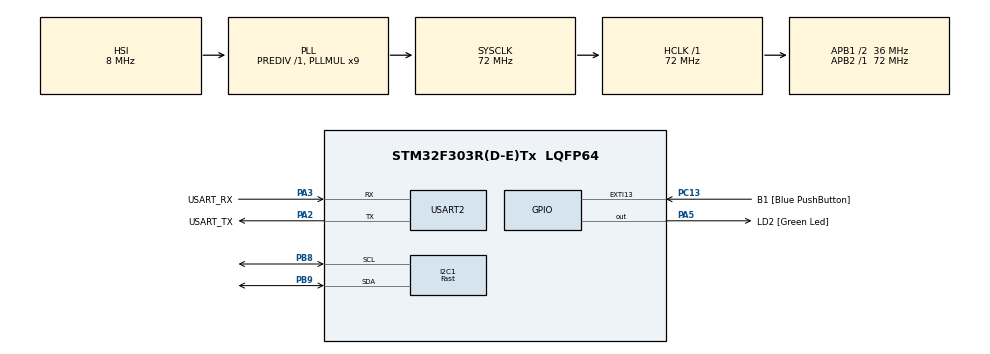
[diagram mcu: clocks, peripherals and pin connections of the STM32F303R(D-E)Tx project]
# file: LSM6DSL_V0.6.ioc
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I2C1.I2C_Speed_Mode=I2C_Fast
I2C1.Timing=0x0010020A
Mcu.Family=STM32F3
Mcu.Name=STM32F303R(D-E)Tx
Mcu.Package=LQFP64
NVIC.PriorityGroup=NVIC_PRIORITYGROUP_0
PA13.GPIO_Label=TMS
PA13.Signal=SYS_JTMS-SWDIO
PA14.GPIO_Label=TCK
PA14.Signal=SYS_JTCK-SWCLK
PA2.GPIO_Label=USART_TX
PA2.GPIO_Mode=GPIO_MODE_AF_PP
PA2.GPIO_PuPd=GPIO_NOPULL
PA2.GPIO_Speed=GPIO_SPEED_FREQ_LOW
PA2.Mode=Asynchronous
PA2.Signal=USART2_TX
PA3.GPIO_Label=USART_RX
PA3.GPIO_Mode=GPIO_MODE_AF_PP
PA3.GPIO_PuPd=GPIO_NOPULL
PA3.GPIO_Speed=GPIO_SPEED_FREQ_LOW
PA3.Mode=Asynchronous
PA3.Signal=USART2_RX
PA5.GPIO_Label=LD2 [Green Led]
PA5.GPIO_Mode=GPIO_MODE_OUTPUT_PP
PA5.GPIO_PuPd=GPIO_NOPULL
PA5.GPIO_Speed=GPIO_SPEED_FREQ_LOW
PA5.Signal=GPIO_Output
PB3.GPIO_Label=SWO
PB3.Signal=SYS_JTDO-TRACESWO
PB8.GPIO_FM8=SYSCFG_CFGR1_I2C_PB8_FMP
PB8.GPIO_Pu=GPIO_PULLUP
PB8.Mode=I2C
PB8.Signal=I2C1_SCL
PB9.GPIO_FM9=SYSCFG_CFGR1_I2C_PB9_FMP
PB9.GPIO_Pu=GPIO_PULLUP
PB9.GPIO_Speed=GPIO_SPEED_FREQ_HIGH
PB9.Mode=I2C
PB9.Signal=I2C1_SDA
PC13.GPIO_Label=B1 [Blue PushButton]
PC13.GPIO_ModeDefaultEXTI=GPIO_MODE_IT_FALLING
PC13.Signal=GPXTI13
PC14-OSC32_IN.Mode=LSE-External-Oscillator
PC14-OSC32_IN.Signal=RCC_OSC32_IN
PC15-OSC32_OUT.Mode=LSE-External-Oscillator
PC15-OSC32_OUT.Signal=RCC_OSC32_OUT
PF0-OSC_IN.Mode=HSE-External-Clock-Source
PF0-OSC_IN.Signal=RCC_OSC_IN
PF1-OSC_OUT.Signal=RCC_OSC_OUT
ProjectManager.HeapSize=0x200
ProjectManager.StackSize=0x400
ProjectManager.TargetToolchain=STM32CubeIDE
RCC.AHBFreq_Value=72000000
RCC.APB1CLKDivider=RCC_HCLK_DIV2
RCC.APB1Freq_Value=36000000
RCC.APB1TimFreq_Value=72000000
RCC.APB2Freq_Value=72000000
RCC.APB2TimFreq_Value=72000000
RCC.CortexFreq_Value=72000000
RCC.HCLKFreq_Value=72000000
RCC.HSE_VALUE=8000000
RCC.HSI_VALUE=8000000
RCC.PLLM=8
RCC.PLLMUL=RCC_PLL_MUL9
RCC.PLLN=336
RCC.PLLP=RCC_PLLP_DIV4
RCC.PLLQ=7
RCC.RCC_PLLsource_Clock_Source_FROM_HSE=RCC_HSE_PREDIV_DIV2
RCC.SYSCLKFreq_VALUE=72000000
RCC.SYSCLKSourceVirtual=RCC_SYSCLKSOURCE_PLLCLK
RCC.USBFreq_Value=72000000
USART2.VirtualMode-Asynchronous=VM_ASYNC
board=NUCLEO-F303RE

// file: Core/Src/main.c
/* USER CODE BEGIN Header */
/**
  ******************************************************************************
  * @file           : main.c
  * @brief          : Main program body
  ******************************************************************************
  * @attention
  *
  * Copyright (c) 2024 STMicroelectronics.
  * All rights reserved.
  *
  * This software is licensed under terms that can be found in the LICENSE file
  * in the root directory of this software component.
  * If no LICENSE file comes with this software, it is provided AS-IS.
  *
  ******************************************************************************
  */
/* USER CODE END Header */
#include "main.h"

/* USER CODE BEGIN Includes */
#include <stdio.h>
#include <string.h>
#include <stdbool.h>
#include <stdint.h>
/* USER CODE END Includes */

/* USER CODE BEGIN PD */
/** I2C Device Address 8 bit format  if SA0=0 -> D5 if SA0=1 -> D7 **/
#define LSM6DSL_I2C_ADD_W0                       0xD4U				//SA0=0
#define LSM6DSL_I2C_ADD_R0                       0xD5U				//SA0=0
#define LSM6DSL_I2C_ADD_W1                       0xD6U				//SA0=1
#define LSM6DSL_I2C_ADD_R1                       0xD7U				//SA0=1

/** Device Identification (Who am I) **/
#define LSM6DSL_ID                              0x6AU

#define LSM6DSL_FUNC_CFG_ACCESS                 0x01U
#define LSM6DSL_SENSOR_SYNC_TIME_FRAME          0x04U
#define LSM6DSL_SENSOR_SYNC_RES_RATIO           0x05U
#define LSM6DSL_FIFO_CTRL1                      0x06U
#define LSM6DSL_FIFO_CTRL2                      0x07U
#define LSM6DSL_FIFO_CTRL3                      0x08U
#define LSM6DSL_FIFO_CTRL4                      0x09U
#define LSM6DSL_FIFO_CTRL5                      0x0AU
#define LSM6DSL_DRDY_PULSE_CFG_G                0x0BU
#define LSM6DSL_INT1_CTRL                       0x0DU
#define LSM6DSL_INT2_CTRL                       0x0EU
#define LSM6DSL_WHO_AM_I                        0x0FU
#define LSM6DSL_CTRL1_XL                        0x10U
#define LSM6DSL_CTRL2_G                         0x11U
#define LSM6DSL_CTRL3_C                         0x12U
#define LSM6DSL_CTRL4_C                         0x13U
#define LSM6DSL_CTRL5_C                         0x14U
#define LSM6DSL_CTRL6_C                         0x15U
#define LSM6DSL_CTRL7_G                         0x16U
#define LSM6DSL_CTRL8_XL                        0x17U
#define LSM6DSL_CTRL9_XL                        0x18U
#define LSM6DSL_CTRL10_C                        0x19U
#define LSM6DSL_MASTER_CONFIG                   0x1AU
#define LSM6DSL_WAKE_UP_SRC                     0x1BU
#define LSM6DSL_TAP_SRC                         0x1CU
#define LSM6DSL_D6D_SRC                         0x1DU
#define LSM6DSL_STATUS_REG                      0x1EU

#define LSM6DSL_OUT_TEMP_L                      0x20U
#define LSM6DSL_OUT_TEMP_H                      0x21U
#define LSM6DSL_OUTX_L_G                        0x22U
#define LSM6DSL_OUTX_H_G                        0x23U
#define LSM6DSL_OUTY_L_G                        0x24U
#define LSM6DSL_OUTY_H_G                        0x25U
#define LSM6DSL_OUTZ_L_G                        0x26U
#define LSM6DSL_OUTZ_H_G                        0x27U
#define LSM6DSL_OUTX_L_XL                       0x28U
#define LSM6DSL_OUTX_H_XL                       0x29U
#define LSM6DSL_OUTY_L_XL                       0x2AU
#define LSM6DSL_OUTY_H_XL                       0x2BU
#define LSM6DSL_OUTZ_L_XL                       0x2CU
#define LSM6DSL_OUTZ_H_XL                       0x2DU
#define LSM6DSL_SENSORHUB1_REG                  0x2EU

#define LSM6DSL_SENSORHUB2_REG                  0x2FU
#define LSM6DSL_SENSORHUB3_REG                  0x30U
#define LSM6DSL_SENSORHUB4_REG                  0x31U
#define LSM6DSL_SENSORHUB5_REG                  0x32U
#define LSM6DSL_SENSORHUB6_REG                  0x33U
#define LSM6DSL_SENSORHUB7_REG                  0x34U
#define LSM6DSL_SENSORHUB8_REG                  0x35U
#define LSM6DSL_SENSORHUB9_REG                  0x36U
#define LSM6DSL_SENSORHUB10_REG                 0x37U
#define LSM6DSL_SENSORHUB11_REG                 0x38U
#define LSM6DSL_SENSORHUB12_REG                 0x39U
#define LSM6DSL_FIFO_STATUS1                    0x3AU
#define LSM6DSL_FIFO_STATUS2                    0x3BU
#define LSM6DSL_FIFO_STATUS3                    0x3CU

#define LSM6DSL_FIFO_DATA_OUT_L                 0x3EU
#define LSM6DSL_FIFO_DATA_OUT_H                 0x3FU
#define LSM6DSL_TIMESTAMP0_REG                  0x40U
#define LSM6DSL_TIMESTAMP1_REG                  0x41U
#define LSM6DSL_TIMESTAMP2_REG                  0x42U
#define LSM6DSL_STEP_TIMESTAMP_L                0x49U
#define LSM6DSL_STEP_TIMESTAMP_H                0x4AU
#define LSM6DSL_STEP_COUNTER_L                  0x4BU
#define LSM6DSL_STEP_COUNTER_H                  0x4CU

#define LSM6DSL_SENSORHUB13_REG                 0x4DU
#define LSM6DSL_SENSORHUB14_REG                 0x4EU
#define LSM6DSL_SENSORHUB15_REG                 0x4FU
#define LSM6DSL_SENSORHUB16_REG                 0x50U
#define LSM6DSL_SENSORHUB17_REG                 0x51U
#define LSM6DSL_SENSORHUB18_REG                 0x52U
#define LSM6DSL_FUNC_SRC1                       0x53U
#define LSM6DSL_FUNC_SRC2                       0x54U
#define LSM6DSL_WRIST_TILT_IA                   0x55U
#define LSM6DSL_TAP_CFG                         0x58U
#define LSM6DSL_TAP_THS_6D                      0x59U
#define LSM6DSL_INT_DUR2                        0x5AU
#define LSM6DSL_WAKE_UP_THS                     0x5BU
#define LSM6DSL_WAKE_UP_DUR                     0x5CU
#define LSM6DSL_FREE_FALL                       0x5DU
#define LSM6DSL_MD1_CFG                         0x5EU
#define LSM6DSL_MD2_CFG                         0x5FU
#define LSM6DSL_MASTER_CMD_CODE                 0x60U
#define LSM6DSL_SENS_SYNC_SPI_ERROR_CODE        0x61U
#define LSM6DSL_OUT_MAG_RAW_X_L                 0x66U
#define LSM6DSL_OUT_MAG_RAW_X_H                 0x67U
#define LSM6DSL_OUT_MAG_RAW_Y_L                 0x68U
#define LSM6DSL_OUT_MAG_RAW_Y_H                 0x69U
#define LSM6DSL_OUT_MAG_RAW_Z_L                 0x6AU
#define LSM6DSL_OUT_MAG_RAW_Z_H                 0x6BU
#define LSM6DSL_X_OFS_USR                       0x73U
#define LSM6DSL_Y_OFS_USR                       0x74U
#define LSM6DSL_Z_OFS_USR                       0x75U
#define LSM6DSL_SLV0_ADD                        0x02U

#define LSM6DSL_SLV0_SUBADD                     0x03U
#define LSM6DSL_SLAVE0_CONFIG                   0x04U
#define LSM6DSL_SLV1_ADD                        0x05U
#define LSM6DSL_SLV1_SUBADD                     0x06U
#define LSM6DSL_SLAVE1_CONFIG                   0x07U
#define LSM6DSL_SLV2_ADD                        0x08U
#define LSM6DSL_SLV2_SUBADD                     0x09U
#define LSM6DSL_SLAVE2_CONFIG                   0x0AU
#define LSM6DSL_SLV3_ADD                        0x0BU
#define LSM6DSL_SLV3_SUBADD                     0x0CU
#define LSM6DSL_SLAVE3_CONFIG                   0x0DU
#define LSM6DSL_DATAWRITE_SRC_MODE_SUB_SLV0     0x0EU
#define LSM6DSL_CONFIG_PEDO_THS_MIN             0x0FU
#define LSM6DSL_SM_THS                          0x13U
#define LSM6DSL_PEDO_DEB_REG                    0x14U

#define LSM6DSL_STEP_COUNT_DELTA                0x15U
#define LSM6DSL_MAG_SI_XX                       0x24U
#define LSM6DSL_MAG_SI_XY                       0x25U
#define LSM6DSL_MAG_SI_XZ                       0x26U
#define LSM6DSL_MAG_SI_YX                       0x27U
#define LSM6DSL_MAG_SI_YY                       0x28U
#define LSM6DSL_MAG_SI_YZ                       0x29U
#define LSM6DSL_MAG_SI_ZX                       0x2AU
#define LSM6DSL_MAG_SI_ZY                       0x2BU
#define LSM6DSL_MAG_SI_ZZ                       0x2CU
#define LSM6DSL_MAG_OFFX_L                      0x2DU
#define LSM6DSL_MAG_OFFX_H                      0x2EU
#define LSM6DSL_MAG_OFFY_L                      0x2FU
#define LSM6DSL_MAG_OFFY_H                      0x30U
#define LSM6DSL_MAG_OFFZ_L                      0x31U
#define LSM6DSL_MAG_OFFZ_H                      0x32U
#define LSM6DSL_A_WRIST_TILT_LAT                0x50U
#define LSM6DSL_A_WRIST_TILT_THS                0x54U
#define LSM6DSL_A_WRIST_TILT_MASK               0x59U
#define PROPERTY_DISABLE                        0U
#define PROPERTY_ENABLE                         1U

// Accelerometer and Gyroscope settings
#define LSM6DSL_XL_ODR_104Hz    0x40   	// Accelerometer ODR 104 Hz
#define LSM6DSL_GY_ODR_104Hz    0x40   	// Gyroscope ODR 104 Hz
#define LSM6DSL_2g              0x02   	// Full scale 2g for accelerometer
#define LSM6DSL_2000dps         0x0C   	// Full scale 2000dps for gyroscope
#define LSM6DSL_168Hz			0x1A	// Set 168Hz bandwith and offset
#define LSM6DSL_LPF1			0x7C	// Set low pass filter for acc

#define TIME_LIMIT 5000				// Time in ms

/* USER CODE END PD */

/* USER CODE BEGIN PM */
volatile uint32_t startTime = 0;						// start time for data
volatile uint32_t startTime2 = 0;						// start time for data
bool Time_flag = false;					// flag indicate that 10 sec. in range

/* USER CODE END PM */

I2C_HandleTypeDef hi2c1;

UART_HandleTypeDef huart2;

/* USER CODE BEGIN PV */
uint8_t i2c_rx_buffer[6];  // To store accelerometer or gyroscope data
bool data_ready;

int16_t lower_gyro_x = 0x00;
int16_t	upper_gyro_x = 0x00;
/* USER CODE END PV */

void SystemClock_Config(void);
static void MX_GPIO_Init(void);
static void MX_USART2_UART_Init(void);
static void MX_I2C1_Init(void);
/* USER CODE BEGIN PFP */
void SystemClock_Config(void);
static void MX_GPIO_Init(void);
static void MX_USART2_UART_Init(void);
static void MX_I2C1_Init(void);
/* USER CODE BEGIN PFP */
void DataOver_UART(int16_t ax, int16_t ay, int16_t az, int16_t gx, int16_t gy, int16_t gz);

void LSM6DSL_init(void);
void LSM6DSL_ReadGyro(int16_t* gx, int16_t* gy, int16_t* gz);
void LSM6DSL_ReadAccel(int16_t* ax, int16_t* ay, int16_t* az);
void LSM6DSL_write_register(uint8_t reg, uint8_t data);
uint8_t LSM6DSL_read_register(uint8_t reg);
uint8_t LSM6DSL_get_ID(void);
void LSM6DSL_set_sw_reset(uint8_t enable);
void LSM6DSL_set_data_rate_xl(uint8_t data_rate);
void LSM6DSL_set_full_scale_xl(uint8_t full_scale);
void LSM6DSL_set_data_rate_gy(uint8_t data_rate);
void LSM6DSL_set_full_scale_gy(uint8_t full_scale);
void LSM6DSL_set_block_data_update(uint8_t enable);
void LSM6DSL_set_block_data_update(uint8_t enable);
void LSM6DSL_set_Filter (uint8_t bandwidth);
void LSM6DSL_set_LPF (uint8_t LPF);

void CheckDataInRange(void);

/* USER CODE END PFP */

int main(void)
{

  /* MCU Configuration--------------------------------------------------------*/

  /* Reset of all peripherals, Initializes the Flash interface and the Systick. */
  HAL_Init();

  /* Configure the system clock */
  SystemClock_Config();

  /* Initialize all configured peripherals */
  MX_GPIO_Init();
  MX_USART2_UART_Init();
  MX_I2C1_Init();
  /* USER CODE BEGIN 2 */
  LSM6DSL_init();

  startTime2 = HAL_GetTick();			// start timer
  /* USER CODE END 2 */

  /* Infinite loop */
  while (1)
  {

    /* USER CODE BEGIN 3 */

	  CheckDataInRange();

	  if(Time_flag)
	  {
		  HAL_GPIO_WritePin(GPIOA, GPIO_PIN_5, GPIO_PIN_SET);
	  }
	  else
	  {
		  HAL_GPIO_WritePin(GPIOA, GPIO_PIN_5, GPIO_PIN_RESET);
	  }

	  //delay
	  HAL_Delay(100);
  }
  /* USER CODE END 3 */
}

void SystemClock_Config(void)
{
  RCC_OscInitTypeDef RCC_OscInitStruct = {0};
  RCC_ClkInitTypeDef RCC_ClkInitStruct = {0};
  RCC_PeriphCLKInitTypeDef PeriphClkInit = {0};

  /** Initializes the RCC Oscillators according to the specified parameters
  * in the RCC_OscInitTypeDef structure.
  */
  RCC_OscInitStruct.OscillatorType = RCC_OSCILLATORTYPE_HSI;
  RCC_OscInitStruct.HSIState = RCC_HSI_ON;
  RCC_OscInitStruct.HSICalibrationValue = RCC_HSICALIBRATION_DEFAULT;
  RCC_OscInitStruct.PLL.PLLState = RCC_PLL_ON;
  RCC_OscInitStruct.PLL.PLLSource = RCC_PLLSOURCE_HSI;
  RCC_OscInitStruct.PLL.PLLMUL = RCC_PLL_MUL9;
  RCC_OscInitStruct.PLL.PREDIV = RCC_PREDIV_DIV1;
  if (HAL_RCC_OscConfig(&RCC_OscInitStruct) != HAL_OK)
  {
    Error_Handler();
  }

  /** Initializes the CPU, AHB and APB buses clocks
  */
  RCC_ClkInitStruct.ClockType = RCC_CLOCKTYPE_HCLK|RCC_CLOCKTYPE_SYSCLK
                              |RCC_CLOCKTYPE_PCLK1|RCC_CLOCKTYPE_PCLK2;
  RCC_ClkInitStruct.SYSCLKSource = RCC_SYSCLKSOURCE_PLLCLK;
  RCC_ClkInitStruct.AHBCLKDivider = RCC_SYSCLK_DIV1;
  RCC_ClkInitStruct.APB1CLKDivider = RCC_HCLK_DIV2;
  RCC_ClkInitStruct.APB2CLKDivider = RCC_HCLK_DIV1;

  if (HAL_RCC_ClockConfig(&RCC_ClkInitStruct, FLASH_LATENCY_2) != HAL_OK)
  {
    Error_Handler();
  }
  PeriphClkInit.PeriphClockSelection = RCC_PERIPHCLK_USART2|RCC_PERIPHCLK_I2C1;
  PeriphClkInit.Usart2ClockSelection = RCC_USART2CLKSOURCE_PCLK1;
  PeriphClkInit.I2c1ClockSelection = RCC_I2C1CLKSOURCE_HSI;
  if (HAL_RCCEx_PeriphCLKConfig(&PeriphClkInit) != HAL_OK)
  {
    Error_Handler();
  }
}

static void MX_I2C1_Init(void)
{

  hi2c1.Instance = I2C1;
  hi2c1.Init.Timing = 0x0000020B;
  hi2c1.Init.OwnAddress1 = 0;
  hi2c1.Init.AddressingMode = I2C_ADDRESSINGMODE_7BIT;
  hi2c1.Init.DualAddressMode = I2C_DUALADDRESS_DISABLE;
  hi2c1.Init.OwnAddress2 = 0;
  hi2c1.Init.OwnAddress2Masks = I2C_OA2_NOMASK;
  hi2c1.Init.GeneralCallMode = I2C_GENERALCALL_DISABLE;
  hi2c1.Init.NoStretchMode = I2C_NOSTRETCH_DISABLE;
  if (HAL_I2C_Init(&hi2c1) != HAL_OK)
  {
    Error_Handler();
  }

  /** Configure Analogue filter
  */
  if (HAL_I2CEx_ConfigAnalogFilter(&hi2c1, I2C_ANALOGFILTER_ENABLE) != HAL_OK)
  {
    Error_Handler();
  }

  /** Configure Digital filter
  */
  if (HAL_I2CEx_ConfigDigitalFilter(&hi2c1, 0) != HAL_OK)
  {
    Error_Handler();
  }

}

static void MX_USART2_UART_Init(void)
{

  huart2.Instance = USART2;
  huart2.Init.BaudRate = 115200;
  huart2.Init.WordLength = UART_WORDLENGTH_8B;
  huart2.Init.StopBits = UART_STOPBITS_1;
  huart2.Init.Parity = UART_PARITY_NONE;
  huart2.Init.Mode = UART_MODE_TX_RX;
  huart2.Init.HwFlowCtl = UART_HWCONTROL_NONE;
  huart2.Init.OverSampling = UART_OVERSAMPLING_16;
  huart2.Init.OneBitSampling = UART_ONE_BIT_SAMPLE_DISABLE;
  huart2.AdvancedInit.AdvFeatureInit = UART_ADVFEATURE_NO_INIT;
  if (HAL_UART_Init(&huart2) != HAL_OK)
  {
    Error_Handler();
  }

}

static void MX_GPIO_Init(void)
{
  GPIO_InitTypeDef GPIO_InitStruct = {0};

  /* GPIO Ports Clock Enable */
  __HAL_RCC_GPIOC_CLK_ENABLE();
  __HAL_RCC_GPIOF_CLK_ENABLE();
  __HAL_RCC_GPIOA_CLK_ENABLE();
  __HAL_RCC_GPIOB_CLK_ENABLE();

  /*Configure GPIO pin Output Level */
  HAL_GPIO_WritePin(LD2_GPIO_Port, LD2_Pin, GPIO_PIN_RESET);

  /*Configure GPIO pin : B1_Pin */
  GPIO_InitStruct.Pin = B1_Pin;
  GPIO_InitStruct.Mode = GPIO_MODE_IT_FALLING;
  GPIO_InitStruct.Pull = GPIO_NOPULL;
  HAL_GPIO_Init(B1_GPIO_Port, &GPIO_InitStruct);

  /*Configure GPIO pin : LD2_Pin */
  GPIO_InitStruct.Pin = LD2_Pin;
  GPIO_InitStruct.Mode = GPIO_MODE_OUTPUT_PP;
  GPIO_InitStruct.Pull = GPIO_NOPULL;
  GPIO_InitStruct.Speed = GPIO_SPEED_FREQ_LOW;
  HAL_GPIO_Init(LD2_GPIO_Port, &GPIO_InitStruct);

}

/* USER CODE BEGIN 4 */
/**
  * @brief LSM6DSL_Init Initialization Function
  */
// Initialize the LSM6DSL sensor
void LSM6DSL_init(void) {

    // Set chip select (if using SPI, otherwise not needed for I2C)
//    HAL_GPIO_WritePin(GPIOA, GPIO_PIN_9, GPIO_PIN_SET);   // Assume PA9 is CS for SPI, not used for I2C

    // Check if the device ID matches the expected ID
    if (LSM6DSL_get_ID() == LSM6DSL_ID) {
        LSM6DSL_set_sw_reset(true);                      // Reset the sensor

        // Set accelerometer and gyroscope settings
        LSM6DSL_set_data_rate_xl(LSM6DSL_XL_ODR_104Hz);
        LSM6DSL_set_full_scale_xl(LSM6DSL_2g);
        LSM6DSL_set_data_rate_gy(LSM6DSL_GY_ODR_104Hz);
        LSM6DSL_set_full_scale_gy(LSM6DSL_2000dps);
        LSM6DSL_set_Filter(LSM6DSL_168Hz);

        // Enable block data update to prevent partial reads
        LSM6DSL_set_block_data_update(true);

    }

}

void CheckDataInRange(void)
{
	  int16_t gyro_x, gyro_y, gyro_z;
	  int16_t accel_x, accel_y, accel_z;

	  // Read gyroscope data
	  LSM6DSL_ReadGyro(&gyro_x, &gyro_y, &gyro_z);

	  // Read accelerometer data
	  LSM6DSL_ReadAccel(&accel_x, &accel_y, &accel_z);

	  // send data over uart
	  DataOver_UART(accel_x, accel_y, accel_z, gyro_x, gyro_y, gyro_z);

//	  // check is data is within limit
	  if(accel_x >= lower_gyro_x && accel_x <= upper_gyro_x)
	  {
		  // check timer is on
		  if(startTime == 0)
		  {
			  startTime = HAL_GetTick();			// start timer
		  }
		  else if ((HAL_GetTick() - startTime) >= TIME_LIMIT)
		  {
			  Time_flag = false;
		  }
		  startTime2 = 0;
	  }
	  else
	  {
		  if(startTime2 == 0)
		  {
			  startTime2 = HAL_GetTick();			// start timer
		  }
		  startTime = 0;
		  if((HAL_GetTick() - startTime2) >= TIME_LIMIT)
		  {
			  lower_gyro_x = accel_x - 1000;
			  upper_gyro_x = accel_x + 1000;
			  startTime2 = 0;
			  Time_flag = false;
		  }
		  Time_flag = true;
	  }

}

/**
  * @brief LSM6DSL_ReadGyro Initialization Function
  */
void LSM6DSL_ReadGyro(int16_t* gx, int16_t* gy, int16_t* gz)
{

    // Read 6 bytes of gyro data (OUTX_L_G to OUTZ_H_G)

    uint8_t p_buf_rx[6];

        HAL_I2C_Mem_Read(&hi2c1, LSM6DSL_I2C_ADD_R0, LSM6DSL_OUTX_L_G, I2C_MEMADD_SIZE_8BIT, &p_buf_rx[0], 1, HAL_MAX_DELAY);
        HAL_I2C_Mem_Read(&hi2c1, LSM6DSL_I2C_ADD_R0, LSM6DSL_OUTX_H_G, I2C_MEMADD_SIZE_8BIT, &p_buf_rx[1], 1, HAL_MAX_DELAY);
        HAL_I2C_Mem_Read(&hi2c1, LSM6DSL_I2C_ADD_R0, LSM6DSL_OUTY_L_G, I2C_MEMADD_SIZE_8BIT, &p_buf_rx[2], 1, HAL_MAX_DELAY);
        HAL_I2C_Mem_Read(&hi2c1, LSM6DSL_I2C_ADD_R0, LSM6DSL_OUTY_H_G, I2C_MEMADD_SIZE_8BIT, &p_buf_rx[3], 1, HAL_MAX_DELAY);
        HAL_I2C_Mem_Read(&hi2c1, LSM6DSL_I2C_ADD_R0, LSM6DSL_OUTZ_L_G, I2C_MEMADD_SIZE_8BIT, &p_buf_rx[4], 1, HAL_MAX_DELAY);
        HAL_I2C_Mem_Read(&hi2c1, LSM6DSL_I2C_ADD_R0, LSM6DSL_OUTZ_H_G, I2C_MEMADD_SIZE_8BIT, &p_buf_rx[5], 1, HAL_MAX_DELAY);

    // Combine low and high bytes to get 16-bit gyroscope values
    *gx = (int16_t)(p_buf_rx[0] | p_buf_rx[1] << 8);
    *gy = (int16_t)(p_buf_rx[2] | p_buf_rx[3] << 8);
    *gz = (int16_t)(p_buf_rx[4] | p_buf_rx[5] << 8);
}

/**
  * @brief LSM6DSL_ReadAccel Initialization Function
  */
void LSM6DSL_ReadAccel(int16_t* ax, int16_t* ay, int16_t* az)
{

    uint8_t p_buf_rx[6];

    HAL_I2C_Mem_Read(&hi2c1, LSM6DSL_I2C_ADD_R0, LSM6DSL_OUTX_L_XL, I2C_MEMADD_SIZE_8BIT, &p_buf_rx[0], 1, HAL_MAX_DELAY);
    HAL_I2C_Mem_Read(&hi2c1, LSM6DSL_I2C_ADD_R0, LSM6DSL_OUTX_H_XL, I2C_MEMADD_SIZE_8BIT, &p_buf_rx[1], 1, HAL_MAX_DELAY);
    HAL_I2C_Mem_Read(&hi2c1, LSM6DSL_I2C_ADD_R0, LSM6DSL_OUTY_L_XL, I2C_MEMADD_SIZE_8BIT, &p_buf_rx[2], 1, HAL_MAX_DELAY);
    HAL_I2C_Mem_Read(&hi2c1, LSM6DSL_I2C_ADD_R0, LSM6DSL_OUTY_H_XL, I2C_MEMADD_SIZE_8BIT, &p_buf_rx[3], 1, HAL_MAX_DELAY);
    HAL_I2C_Mem_Read(&hi2c1, LSM6DSL_I2C_ADD_R0, LSM6DSL_OUTZ_L_XL, I2C_MEMADD_SIZE_8BIT, &p_buf_rx[4], 1, HAL_MAX_DELAY);
    HAL_I2C_Mem_Read(&hi2c1, LSM6DSL_I2C_ADD_R0, LSM6DSL_OUTZ_H_XL, I2C_MEMADD_SIZE_8BIT, &p_buf_rx[5], 1, HAL_MAX_DELAY);

    // Combine low and high bytes to get 16-bit accelerometer values
    *ax = (int16_t)(p_buf_rx[0] | p_buf_rx[1] << 8);
    *ay = (int16_t)(p_buf_rx[2] | p_buf_rx[3] << 8);
    *az = (int16_t)(p_buf_rx[4] | p_buf_rx[5] << 8);
}

// Helper function to write data to a specific register
void LSM6DSL_write_register(uint8_t reg, uint8_t data) {
    HAL_I2C_Mem_Write(&hi2c1, LSM6DSL_I2C_ADD_W0, reg, I2C_MEMADD_SIZE_8BIT, &data, 1, HAL_MAX_DELAY);
}

// Helper function to read data from a specific register
uint8_t LSM6DSL_read_register(uint8_t reg) {
    uint8_t data;
    HAL_I2C_Mem_Read(&hi2c1, LSM6DSL_I2C_ADD_R0, reg, I2C_MEMADD_SIZE_8BIT, &data, 1, HAL_MAX_DELAY);
    return data;
}

// Get the ID of the LSM6DSL sensor
uint8_t LSM6DSL_get_ID(void) {
//	uint8_t new_ID = 0;
    return LSM6DSL_read_register(LSM6DSL_WHO_AM_I);
//    HAL_I2C_Mem_Read(&hi2c1, LSM6DSL_I2C_ADD_R0, LSM6DSL_WHO_AM_I, I2C_MEMADD_SIZE_8BIT, &new_ID, 1, HAL_MAX_DELAY);
//    return new_ID;

}

// Perform a software reset on the LSM6DSL sensor
void LSM6DSL_set_sw_reset(uint8_t enable) {
    uint8_t ctrl3_c = LSM6DSL_read_register(LSM6DSL_CTRL3_C);
    if (enable) {
        ctrl3_c |= 0x01;  // Set the SW_RESET bit
    } else {
        ctrl3_c &= ~0x01; // Clear the SW_RESET bit
    }
    LSM6DSL_write_register(LSM6DSL_CTRL3_C, ctrl3_c);
}

// Set accelerometer data rate and full scale
void LSM6DSL_set_data_rate_xl(uint8_t data_rate_xl) {
    uint8_t ctrl1_data_xl = LSM6DSL_read_register(LSM6DSL_CTRL1_XL);
    ctrl1_data_xl = (ctrl1_data_xl & ~0xFF) | data_rate_xl;  // Mask and set ODR bits
    LSM6DSL_write_register(LSM6DSL_CTRL1_XL, ctrl1_data_xl);
}

void LSM6DSL_set_full_scale_xl(uint8_t full_scale_xl) {
    uint8_t ctrl1_xl = LSM6DSL_read_register(LSM6DSL_CTRL1_XL);
    ctrl1_xl = (ctrl1_xl & ~0x0C) | full_scale_xl;  // Mask and set full-scale bits
    LSM6DSL_write_register(LSM6DSL_CTRL1_XL, ctrl1_xl);
}

// Set gyroscope data rate and full scale
void LSM6DSL_set_data_rate_gy(uint8_t data_rate_g) {
    uint8_t ctrl2_data_g = LSM6DSL_read_register(LSM6DSL_CTRL2_G);
    ctrl2_data_g = (ctrl2_data_g & ~0xFF) | data_rate_g;  // Mask and set ODR bits
    LSM6DSL_write_register(LSM6DSL_CTRL2_G, ctrl2_data_g);
}

void LSM6DSL_set_full_scale_gy(uint8_t full_scale_g) {
    uint8_t ctrl2_g = LSM6DSL_read_register(LSM6DSL_CTRL2_G);
    ctrl2_g = (ctrl2_g & ~0x0C) | full_scale_g;  // Mask and set full-scale bits
    LSM6DSL_write_register(LSM6DSL_CTRL2_G, ctrl2_g);
}

// set bandwidth of 168Hz
void LSM6DSL_set_Filter (uint8_t bandwidth)
{
	uint8_t ctrl6_c = LSM6DSL_read_register(LSM6DSL_CTRL6_C);
	ctrl6_c = (ctrl6_c & ~0x1F) | bandwidth;  // Mask and set full-scale bits
	LSM6DSL_write_register(LSM6DSL_CTRL6_C, bandwidth);
}

void LSM6DSL_set_LPF (uint8_t LPF)
{
	uint8_t ctrl8_c = LSM6DSL_read_register(LSM6DSL_CTRL8_XL);
	ctrl8_c = (ctrl8_c & ~0xFF) | LPF;  // Mask and set full-scale bits
	LSM6DSL_write_register(LSM6DSL_CTRL8_XL, LPF);
}

// Enable/Disable block data update
void LSM6DSL_set_block_data_update(uint8_t enable) {
    uint8_t ctrl3_c = LSM6DSL_read_register(LSM6DSL_CTRL3_C);
    if (enable) {
        ctrl3_c |= 0x40;  // Set the BDU bit (Block Data Update)
    } else {
        ctrl3_c &= ~0x40; // Clear the BDU bit
    }
    LSM6DSL_write_register(LSM6DSL_CTRL3_C, ctrl3_c);
}

/**
  * @brief UART_Transmit Data
  */
void DataOver_UART(int16_t ax, int16_t ay, int16_t az, int16_t gx, int16_t gy, int16_t gz)
{
	// Prepare data string
	char uart_buff[96];
	int buff_length;

//	buff_length = snprintf(uart_buff, sizeof(uart_buff),
//									"/* Acce: x=%d y=%d z=%d | Gyro: x=%d y=%d z=%d */\r\n",
//									ax, ay, az, gx, gy, gz);
	buff_length = snprintf(uart_buff, sizeof(uart_buff),
									"/* %d; %d; %d; %d; %d; %d */\r\n",
									ax, ay, az, gx, gy, gz);

	HAL_UART_Transmit(&huart2, (uint8_t*)uart_buff, buff_length, HAL_MAX_DELAY);

}
/* USER CODE END 4 */

void Error_Handler(void)
{
  __disable_irq();
  while (1)
  {
  }
}
